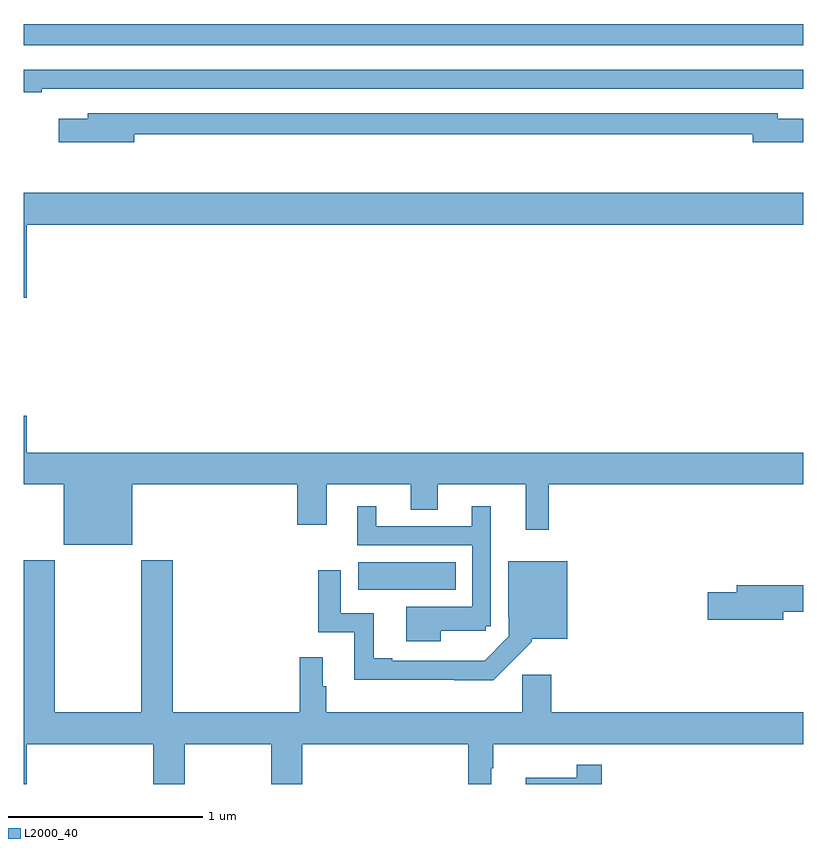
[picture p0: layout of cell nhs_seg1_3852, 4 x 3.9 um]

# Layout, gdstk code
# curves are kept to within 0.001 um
import gdstk
lib = gdstk.Library(unit=1e-6, precision=1e-09)
def R(c, l, rs):  # rectangles x0, y0, x1, y1
    for r in rs: c.add(gdstk.rectangle(r[:2], r[2:], *l))
def P(c, l, *ps):  # polygons
    for p in ps: c.add(gdstk.Polygon(p, *l))
L2000_40 = (2000, 40)

nhs_seg1_3852 = lib.new_cell('nhs_seg1_3852')
R(nhs_seg1_3852, L2000_40, [(322.716,547.196,323.216,547.336), (321,549.99,325,550.099)])
P(nhs_seg1_3852, L2000_40, [(321.092,549.768),(324.964,549.768),(324.964,549.767),(325,549.767),(325,549.864),(321,549.864),(321,549.748),(321.092,549.748)],
  [(321.568,549.534),(324.74,549.534),(324.74,549.491),(325,549.491),(325,549.613),(324.868,549.613),(324.868,549.642),(321.329,549.642),(321.329,549.613),(321.18,549.613),(321.18,549.491),(321.568,549.491)],
  [(321.016,549.068),(325,549.068),(325,549.232),(321,549.232),(321,548.694),(321.016,548.694)],
  [(321.556,547.736),(322.403,547.736),(322.403,547.53),(322.555,547.53),(322.555,547.736),(322.985,547.736),(322.985,547.606),(323.125,547.606),(323.125,547.736),(323.576,547.736),(323.576,547.503),(323.693,547.503),(323.693,547.736),(325,547.736),(325,547.9),(321.016,547.9),(321.016,548.089),(321,548.089),(321,547.736),(321.206,547.736),(321.206,547.427),(321.556,547.427)],
  [(323.14,546.986),(323.37,546.986),(323.37,547.008),(323.397,547.008),(323.397,547.624),(323.3,547.624),(323.3,547.521),(322.81,547.521),(322.81,547.624),(322.712,547.624),(322.712,547.425),(323.301,547.425),(323.301,547.108),(322.964,547.108),(322.964,546.932),(323.14,546.932)],
  [(321.016,546.404),(321.665,546.404),(321.665,546.199),(321.825,546.199),(321.825,546.404),(322.27,546.404),(322.27,546.199),(322.43,546.199),(322.43,546.404),(323.281,546.404),(323.281,546.199),(323.398,546.199),(323.398,546.281),(323.41,546.281),(323.41,546.404),(325,546.404),(325,546.568),(323.708,546.568),(323.708,546.759),(323.557,546.759),(323.557,546.568),(322.553,546.568),(322.553,546.701),(322.534,546.701),(322.534,546.85),(322.417,546.85),(322.417,546.568),(321.764,546.568),(321.764,547.348),(321.604,547.348),(321.604,546.568),(321.159,546.568),(321.159,547.348),(321,547.348),(321,546.199),(321.016,546.199)],
  [(323.606,546.929),(323.606,546.944),(323.788,546.944),(323.788,547.342),(323.486,547.342),(323.486,547.057),(323.49,547.057),(323.49,546.957),(323.365,546.832),(322.891,546.831),(322.891,546.844),(322.795,546.844),(322.795,547.074),(322.626,547.074),(322.626,547.297),(322.51,547.297),(322.51,546.978),(322.697,546.978),(322.697,546.734),(323.209,546.734),(323.209,546.732),(323.408,546.732)],
  [(324.898,547.084),(325,547.084),(325,547.22),(324.659,547.22),(324.659,547.184),(324.51,547.184),(324.51,547.042),(324.898,547.042)],
  [(323.966,546.298),(323.838,546.298),(323.838,546.232),(323.576,546.232),(323.576,546.199),(323.966,546.199)])

lib.write_gds('nhs_seg1_3852.gds')
